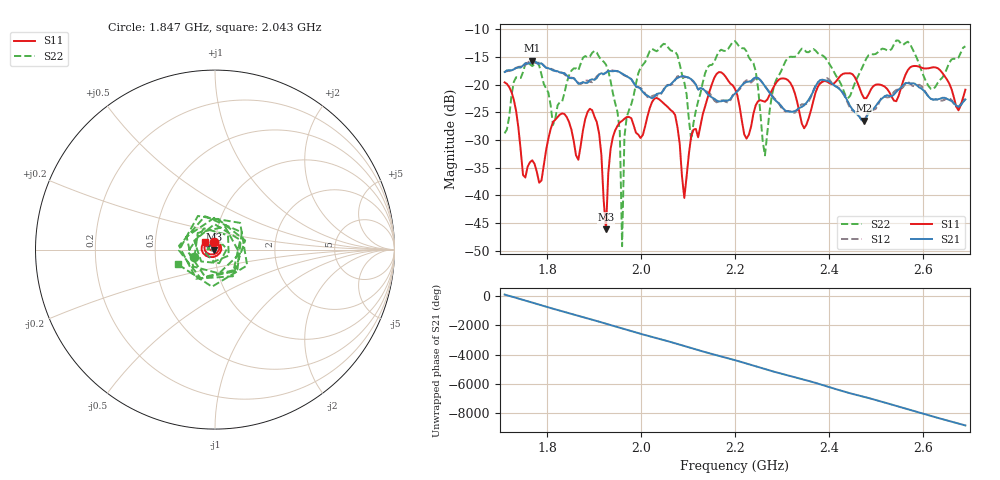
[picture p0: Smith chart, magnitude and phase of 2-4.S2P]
!Agilent Technologies,E5061B,MY49305579,A.02.22
!Date: Thu Aug 24 16:27:35 2017
!Data & Calibration Information:
!Freq	S11:SOLT2(ON)	S21:SOLT2(ON)	S12:SOLT2(ON)	S22:SOLT2(ON)
# Hz S dB R 50
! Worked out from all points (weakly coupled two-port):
!   201 points, 1.71 GHz to 2.69 GHz, reference 50 ohm
!   highest |S21| = -15.71 dB at 1.769 GHz (marker M1); lowest = -26.5 dB at 2.474 GHz (marker M2)
!   lowest |S11| = -46.1 dB at 1.926 GHz (marker M3), VSWR 1.01, Z = 49.5 - j0.057 ohm
!   |S11| at or under -10 dB: start of sweep to end of sweep
!   |S22| runs from -49.2 to -12.0 dB; largest |S21 - S12| = 0.0079
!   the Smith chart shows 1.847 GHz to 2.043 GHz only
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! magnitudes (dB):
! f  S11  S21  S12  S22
! 1.71 GHz  -19.6  -17.7  -17.8  -28.8
! 1.769 GHz  -33.7  -15.7  -15.8  -16.7
! 1.813 GHz  -26.8  -17.5  -17.3  -27.3
! 1.877 GHz  -28.3  -19.6  -19.6  -15.2
! 1.906 GHz  -26.8  -18.8  -18.5  -14.2
! 1.926 GHz  -46.1  -17.9  -17.8  -16.4
! 1.935 GHz  -31.6  -17.6  -17.4  -19.4
! 1.955 GHz  -26.9  -17.8  -17.8  -28.5
! 1.96 GHz  -26.6  -18.0  -18.1  -49.2
! 1.97 GHz  -25.9  -18.5  -18.5  -25.9
! 2.038 GHz  -22.7  -21.6  -22.0  -13.7
! 2.073 GHz  -25.5  -19.1  -19.2  -14.0
! 2.092 GHz  -40.5  -18.5  -18.7  -19.6
! 2.107 GHz  -29.3  -19.0  -19.1  -30.1
! 2.2 GHz  -20.8  -21.6  -21.4  -12.2
! 2.244 GHz  -23.7  -18.7  -18.8  -17.6
! 2.264 GHz  -23.1  -20.3  -20.3  -32.8
! 2.288 GHz  -19.6  -23.0  -22.9  -19.0
! 2.367 GHz  -23.0  -21.2  -21.1  -13.6
! 2.474 GHz  -22.5  -26.5  -26.5  -16.2
! 2.528 GHz  -21.4  -22.0  -22.3  -13.9
! 2.69 GHz  -20.9  -22.7  -22.6  -13.1
